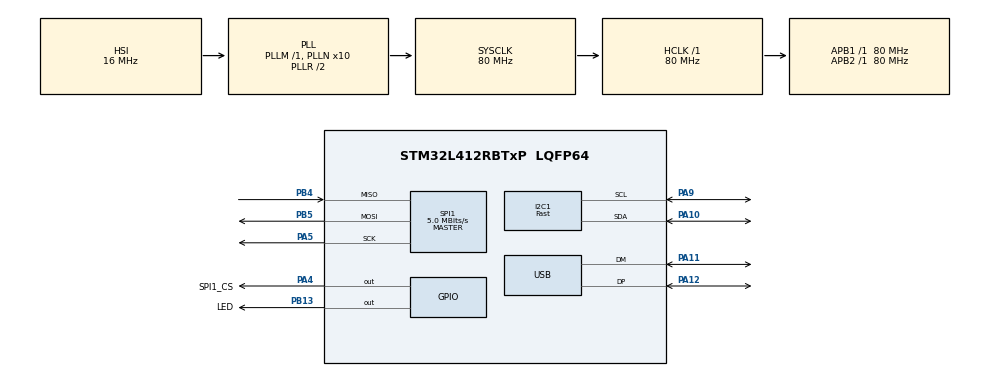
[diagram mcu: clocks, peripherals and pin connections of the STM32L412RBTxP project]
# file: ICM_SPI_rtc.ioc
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I2C1.I2C_Speed_Mode=I2C_Fast
I2C1.Timing=0x00702991
Mcu.Family=STM32L4
Mcu.Name=STM32L412RBTxP
Mcu.Package=LQFP64
NVIC.PriorityGroup=NVIC_PRIORITYGROUP_4
NVIC.USB_IRQn=true\:0\:0\:false\:false\:true\:false\:true\:true
PA10.Mode=I2C
PA10.Signal=I2C1_SDA
PA11.Mode=Device
PA11.Signal=USB_DM
PA12.Mode=Device
PA12.Signal=USB_DP
PA13\ (JTMS/SWDIO).Mode=Trace_Asynchronous_SW
PA13\ (JTMS/SWDIO).Signal=SYS_JTMS-SWDIO
PA14\ (JTCK/SWCLK).Mode=Trace_Asynchronous_SW
PA14\ (JTCK/SWCLK).Signal=SYS_JTCK-SWCLK
PA4.GPIO_Label=SPI1_CS
PA4.GPIO_Speed=GPIO_SPEED_FREQ_HIGH
PA4.PinState=GPIO_PIN_SET
PA4.Signal=GPIO_Output
PA5.Mode=Full_Duplex_Master
PA5.Signal=SPI1_SCK
PA9.Mode=I2C
PA9.Signal=I2C1_SCL
PB13.GPIO_Label=LED
PB13.PinState=GPIO_PIN_SET
PB13.Signal=GPIO_Output
PB3\ (JTDO/TRACESWO).Mode=Trace_Asynchronous_SW
PB3\ (JTDO/TRACESWO).Signal=SYS_JTDO-SWO
PB4\ (NJTRST).Mode=Full_Duplex_Master
PB4\ (NJTRST).Signal=SPI1_MISO
PB5.Mode=Full_Duplex_Master
PB5.Signal=SPI1_MOSI
PC14-OSC32_IN\ (PC14).Mode=LSE-External-Oscillator
PC14-OSC32_IN\ (PC14).Signal=RCC_OSC32_IN
PC15-OSC32_OUT\ (PC15).Mode=LSE-External-Oscillator
PC15-OSC32_OUT\ (PC15).Signal=RCC_OSC32_OUT
PH0-OSC_IN\ (PH0).Mode=HSE-External-Oscillator
PH0-OSC_IN\ (PH0).Signal=RCC_OSC_IN
PH1-OSC_OUT\ (PH1).Mode=HSE-External-Oscillator
PH1-OSC_OUT\ (PH1).Signal=RCC_OSC_OUT
ProjectManager.HeapSize=0x200
ProjectManager.StackSize=0x400
ProjectManager.TargetToolchain=STM32CubeIDE
RCC.ADCFreq_Value=80000000
RCC.AHBFreq_Value=80000000
RCC.APB1Freq_Value=80000000
RCC.APB1TimFreq_Value=80000000
RCC.APB2Freq_Value=80000000
RCC.APB2TimFreq_Value=80000000
RCC.CortexFreq_Value=80000000
RCC.HCLKFreq_Value=80000000
RCC.HSE_VALUE=8000000
RCC.HSI48_VALUE=48000000
RCC.HSI_VALUE=16000000
RCC.MSIClockRange=RCC_MSIRANGE_11
RCC.MSI_VALUE=48000000
RCC.PLLN=10
RCC.PLLSourceVirtual=RCC_PLLSOURCE_HSI
RCC.SYSCLKFreq_VALUE=80000000
RCC.SYSCLKSource=RCC_SYSCLKSOURCE_PLLCLK
RCC.USBFreq_Value=48000000
RCC.VCOOutputFreq_Value=160000000
RTC.Date=9
RTC.Hours=16
RTC.Minutes=54
RTC.Month=RTC_MONTH_AUGUST
RTC.Seconds=15
RTC.Year=23
SPI1.BaudRatePrescaler=SPI_BAUDRATEPRESCALER_16
SPI1.CLKPhase=SPI_PHASE_2EDGE
SPI1.CLKPolarity=SPI_POLARITY_HIGH
SPI1.CalculateBaudRate=5.0 MBits/s
SPI1.DataSize=SPI_DATASIZE_8BIT
SPI1.Direction=SPI_DIRECTION_2LINES
SPI1.Mode=SPI_MODE_MASTER
SPI1.VirtualType=VM_MASTER
USB_DEVICE.CLASS_NAME_FS=CDC
USB_DEVICE.VirtualMode=Cdc
USB_DEVICE.VirtualModeFS=Cdc_FS
VP_RTC_VS_RTC_Activate.Mode=RTC_Enabled
VP_RTC_VS_RTC_Calendar.Mode=RTC_Calendar
VP_USB_DEVICE_VS_USB_DEVICE_CDC_FS.Mode=CDC_FS
board=custom

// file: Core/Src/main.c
/* USER CODE BEGIN Header */
/**
  ******************************************************************************
  * @file           : main.c
  * @brief          : Main program body
  ******************************************************************************
  * @attention
  *
  * Copyright (c) 2023 STMicroelectronics.
  * All rights reserved.
  *
  * This software is licensed under terms that can be found in the LICENSE file
  * in the root directory of this software component.
  * If no LICENSE file comes with this software, it is provided AS-IS.
  *
  ******************************************************************************
  */
/* USER CODE END Header */
#include "main.h"
#include "i2c.h"
#include "rtc.h"
#include "spi.h"
#include "usb_device.h"
#include "gpio.h"

/* USER CODE BEGIN Includes */
#include "icm20948.h"
#include "time.h"
#include "usbd_cdc_if.h"
#include <string.h>
#include <stdio.h>
/* USER CODE END Includes */

/* USER CODE BEGIN PV */
//initialize variables for storing imu data
axises my_gyro;
axises my_accel;
axises my_mag;

icm_20948_data imu_data;

//char usbd_ch;
//int Flag = 0;

//char buffer1[] = "You sent 1, get 1 back\r\n";
//char buffer2[] = "You sent 2, get 2 back\r\n";
//char buffer3[] = "You sent 3, get 3 back\r\n";

char received_data[1000];

char time[30];
char date[30];

RTC_TimeTypeDef sTime = {0};
RTC_DateTypeDef sDate = {0};

NMEA_Result NMEA_result;

//organized data for future sending, including the time data and sensor data
typedef struct {
    time_data time_info;
    icm_20948_data sensor_data;
} combined_data;

/* USER CODE END PV */

void SystemClock_Config(void);

int main(void)
{
  /* USER CODE BEGIN 1 */
	//initialize time data and sensor data
	icm_20948_data imu_data;
	time_data time_result;
	combined_data dataToSend;7
	//get start time for getting the elapsed time later
	uint32_t startTime = HAL_GetTick();
  /* USER CODE END 1 */

  /* MCU Configuration--------------------------------------------------------*/

  /* Reset of all peripherals, Initializes the Flash interface and the Systick. */
  HAL_Init();

  /* Configure the system clock */
  SystemClock_Config();

  /* Initialize all configured peripherals */
  MX_GPIO_Init();
  MX_I2C1_Init();
  MX_SPI1_Init();
  MX_USB_DEVICE_Init();
  MX_RTC_Init();
  /* USER CODE BEGIN 2 */
  //initialize ICM gyroscope, accelerometer and magnetometer peripherals and configuration
  icm20948_init();
  ak09916_init();

  /* USER CODE END 2 */

  /* Infinite loop */
  while (1)
  {

    /* USER CODE BEGIN 3 */
	// This segment fetches sensor data, combines it with time information,
	// formats it into a specific string format, and sends it over USB.
	  dataToSend.time_info = read_time(startTime); // Assume you already have the read_time function
	  dataToSend.sensor_data = read_all_data(); // Assume you have modified the read_all_data function as previously indicated

	  char buffer[512]; // suppose 512 bytes is big enough
	  // Creating a formatted string from the combined time and sensor data
	  // part to insert special character that enable future data splitting
	  sprintf(buffer,
			  "#%u&" //unix timestamp
			  "%04d-%02d-%02d %02d:%02d:%02d&" // utc_timestamp
			  "%04d-%02d-%02d %02d:%02d:%02d&" //
			  "%02u:%02u&"//
			  "x_accel = %f/y_accel = %f/z_accel = %f&"
			  "x_gyro = %f/y_gyro = %f/z_gyro =  %f&"
			  "x_mag = %f/y_mag = %f/z_mag = %f&\r\n",
			  dataToSend.time_info.unix_timestamp,

			  dataToSend.time_info.utc_time.year,
			  dataToSend.time_info.utc_time.month,
			  dataToSend.time_info.utc_time.date,
			  dataToSend.time_info.utc_time.hour,
			  dataToSend.time_info.utc_time.min,
			  dataToSend.time_info.utc_time.sec,

			  dataToSend.time_info.uk_time.year,
			  dataToSend.time_info.uk_time.month,
			  dataToSend.time_info.uk_time.date,
			  dataToSend.time_info.uk_time.hour,
			  dataToSend.time_info.uk_time.min,
			  dataToSend.time_info.uk_time.sec,

			  dataToSend.time_info.elapsed_minutes,
			  dataToSend.time_info.elapsed_seconds,

			  dataToSend.sensor_data.x_accel,
			  dataToSend.sensor_data.y_accel,
			  dataToSend.sensor_data.z_accel,

			  dataToSend.sensor_data.x_gyro,
			  dataToSend.sensor_data.y_gyro,
			  dataToSend.sensor_data.z_gyro,

			  dataToSend.sensor_data.x_magnet,
			  dataToSend.sensor_data.y_magnet,
			  dataToSend.sensor_data.z_magnet

	  );
	  //transmit to the USB VCP
	  CDC_Transmit_FS(buffer, strlen(buffer));

  }

  /* USER CODE END 3 */
}

void SystemClock_Config(void)
{
  RCC_OscInitTypeDef RCC_OscInitStruct = {0};
  RCC_ClkInitTypeDef RCC_ClkInitStruct = {0};

  /** Configure the main internal regulator output voltage
  */
  if (HAL_PWREx_ControlVoltageScaling(PWR_REGULATOR_VOLTAGE_SCALE1) != HAL_OK)
  {
    Error_Handler();
  }

  /** Configure LSE Drive Capability
  */
  HAL_PWR_EnableBkUpAccess();
  __HAL_RCC_LSEDRIVE_CONFIG(RCC_LSEDRIVE_LOW);

  /** Initializes the RCC Oscillators according to the specified parameters
  * in the RCC_OscInitTypeDef structure.
  */
  RCC_OscInitStruct.OscillatorType = RCC_OSCILLATORTYPE_HSI|RCC_OSCILLATORTYPE_LSI
                              |RCC_OSCILLATORTYPE_LSE|RCC_OSCILLATORTYPE_MSI;
  RCC_OscInitStruct.LSEState = RCC_LSE_ON;
  RCC_OscInitStruct.HSIState = RCC_HSI_ON;
  RCC_OscInitStruct.HSICalibrationValue = RCC_HSICALIBRATION_DEFAULT;
  RCC_OscInitStruct.LSIState = RCC_LSI_ON;
  RCC_OscInitStruct.MSIState = RCC_MSI_ON;
  RCC_OscInitStruct.MSICalibrationValue = 0;
  RCC_OscInitStruct.MSIClockRange = RCC_MSIRANGE_11;
  RCC_OscInitStruct.PLL.PLLState = RCC_PLL_ON;
  RCC_OscInitStruct.PLL.PLLSource = RCC_PLLSOURCE_HSI;
  RCC_OscInitStruct.PLL.PLLM = 1;
  RCC_OscInitStruct.PLL.PLLN = 10;
  RCC_OscInitStruct.PLL.PLLQ = RCC_PLLQ_DIV2;
  RCC_OscInitStruct.PLL.PLLR = RCC_PLLR_DIV2;
  if (HAL_RCC_OscConfig(&RCC_OscInitStruct) != HAL_OK)
  {
    Error_Handler();
  }

  /** Initializes the CPU, AHB and APB buses clocks
  */
  RCC_ClkInitStruct.ClockType = RCC_CLOCKTYPE_HCLK|RCC_CLOCKTYPE_SYSCLK
                              |RCC_CLOCKTYPE_PCLK1|RCC_CLOCKTYPE_PCLK2;
  RCC_ClkInitStruct.SYSCLKSource = RCC_SYSCLKSOURCE_PLLCLK;
  RCC_ClkInitStruct.AHBCLKDivider = RCC_SYSCLK_DIV1;
  RCC_ClkInitStruct.APB1CLKDivider = RCC_HCLK_DIV1;
  RCC_ClkInitStruct.APB2CLKDivider = RCC_HCLK_DIV1;

  if (HAL_RCC_ClockConfig(&RCC_ClkInitStruct, FLASH_LATENCY_4) != HAL_OK)
  {
    Error_Handler();
  }

  /** Enable MSI Auto calibration
  */
  HAL_RCCEx_EnableMSIPLLMode();
}

//printf function
/* USER CODE BEGIN 4 */
int _write(int file, char *ptr, int len)
{
	int DataIdx;

	for (DataIdx = 0; DataIdx < len; DataIdx++)
	{
		ITM_SendChar(*ptr++);
	}
	return len;
}
/* USER CODE END 4 */

void Error_Handler(void)
{
  __disable_irq();
  while (1)
  {
  }
}
